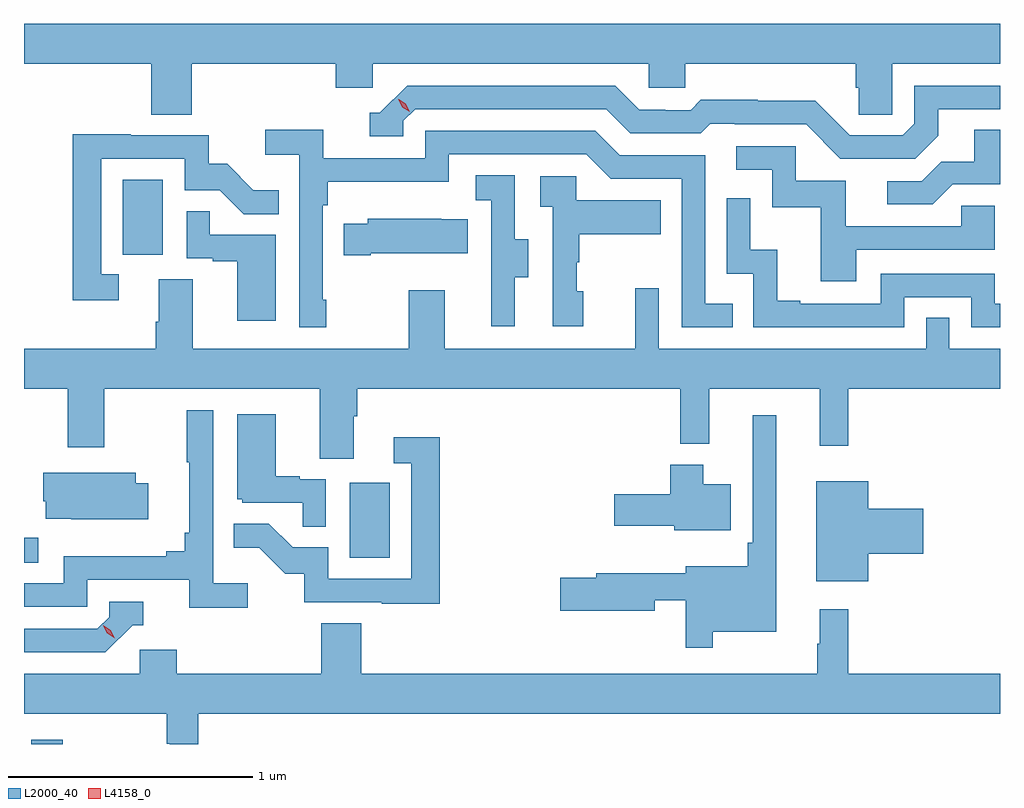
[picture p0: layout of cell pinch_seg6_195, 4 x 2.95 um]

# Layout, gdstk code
import gdstk
lib = gdstk.Library(unit=1e-6, precision=1e-09)
def R(c, l, rs):  # rectangles x0, y0, x1, y1
    for r in rs: c.add(gdstk.rectangle(r[:2], r[2:], *l))
def P(c, l, *ps):  # polygons
    for p in ps: c.add(gdstk.Polygon(p, *l))
L2000_40 = (2000, 40)
L4158_0 = (4158, 0)

pinch_seg6_195 = lib.new_cell('pinch_seg6_195')
R(pinch_seg6_195, L2000_40, [(1017.868,929.896,1017.997,929.914), (1017.839,930.64,1017.898,930.741), (1019.174,930.66,1019.338,930.967), (1018.244,931.902,1018.408,932.209)])
P(pinch_seg6_195, L2000_40, [(1018.526,932.684),(1019.117,932.684),(1019.117,932.586),(1019.268,932.586),(1019.268,932.684),(1020.399,932.684),(1020.399,932.586),(1020.549,932.586),(1020.549,932.684),(1021.247,932.684),(1021.247,932.586),(1021.261,932.586),(1021.261,932.476),(1021.398,932.476),(1021.398,932.684),(1021.839,932.684),(1021.839,932.848),(1017.839,932.848),(1017.839,932.684),(1018.361,932.684),(1018.361,932.476),(1018.526,932.476)],
  [(1021.585,932.389),(1021.585,932.499),(1021.839,932.499),(1021.839,932.595),(1021.488,932.595),(1021.488,932.439),(1021.44,932.391),(1021.224,932.391),(1021.082,932.533),(1020.846,932.533),(1020.846,932.536),(1020.613,932.536),(1020.571,932.493),(1020.468,932.493),(1020.468,932.496),(1020.361,932.496),(1020.262,932.595),(1019.409,932.595),(1019.298,932.484),(1019.255,932.484),(1019.255,932.388),(1019.394,932.388),(1019.394,932.451),(1019.442,932.499),(1020.225,932.499),(1020.324,932.4),(1020.613,932.4),(1020.652,932.439),(1020.751,932.439),(1020.751,932.436),(1021.044,932.436),(1021.185,932.295),(1021.491,932.295)],
  [(1021.645,932.19),(1021.839,932.19),(1021.839,932.414),(1021.733,932.414),(1021.733,932.282),(1021.598,932.282),(1021.518,932.202),(1021.377,932.202),(1021.377,932.109),(1021.564,932.109)],
  [(1019.077,931.717),(1019.064,931.717),(1019.064,932.105),(1019.084,932.105),(1019.084,932.201),(1019.58,932.201),(1019.58,932.313),(1020.144,932.313),(1020.243,932.214),(1020.534,932.214),(1020.534,931.605),(1020.743,931.605),(1020.743,931.701),(1020.63,931.701),(1020.63,932.31),(1020.28,932.31),(1020.181,932.409),(1019.484,932.409),(1019.484,932.298),(1019.066,932.298),(1019.066,932.414),(1018.827,932.414),(1018.827,932.312),(1018.968,932.312),(1018.968,931.605),(1019.077,931.605)],
  [(1018.228,931.821),(1018.155,931.821),(1018.155,932.295),(1018.497,932.295),(1018.497,932.166),(1018.641,932.166),(1018.739,932.068),(1018.883,932.068),(1018.883,932.167),(1018.779,932.167),(1018.672,932.274),(1018.596,932.274),(1018.596,932.391),(1018.277,932.391),(1018.277,932.396),(1018.039,932.396),(1018.039,931.716),(1018.228,931.716)],
  [(1021.249,931.923),(1021.818,931.923),(1021.818,932.103),(1021.681,932.103),(1021.681,932.019),(1021.207,932.019),(1021.207,932.205),(1021.002,932.205),(1021.002,932.346),(1020.759,932.346),(1020.759,932.25),(1020.906,932.25),(1020.906,932.097),(1021.105,932.097),(1021.105,931.794),(1021.249,931.794)],
  [(1019.851,931.81),(1019.905,931.81),(1019.905,931.965),(1019.85,931.965),(1019.85,932.228),(1019.691,932.228),(1019.691,932.125),(1019.754,932.125),(1019.754,931.821),(1019.753,931.821),(1019.753,931.608),(1019.851,931.608)],
  [(1020.13,931.752),(1020.105,931.752),(1020.105,931.871),(1020.115,931.871),(1020.115,931.985),(1020.449,931.985),(1020.449,932.125),(1020.102,932.125),(1020.102,932.223),(1019.955,932.223),(1019.955,932.099),(1020.006,932.099),(1020.006,931.608),(1020.13,931.608)],
  [(1021.446,931.728),(1021.722,931.728),(1021.722,931.605),(1021.839,931.605),(1021.839,931.701),(1021.818,931.701),(1021.818,931.824),(1021.35,931.824),(1021.35,931.701),(1021.021,931.701),(1021.021,931.714),(1020.926,931.714),(1020.926,931.922),(1020.816,931.922),(1020.816,932.134),(1020.72,932.134),(1020.72,931.824),(1020.828,931.824),(1020.828,931.605),(1021.446,931.605)],
  [(1018.87,931.983),(1018.601,931.983),(1018.601,932.081),(1018.506,932.081),(1018.506,931.887),(1018.613,931.887),(1018.613,931.875),(1018.712,931.875),(1018.712,931.632),(1018.87,931.632)],
  [(1019.26,931.907),(1019.657,931.907),(1019.657,932.047),(1019.549,932.047),(1019.549,932.05),(1019.247,932.05),(1019.247,932.029),(1019.149,932.029),(1019.149,931.9),(1019.26,931.9)],
  [(1019.191,931.24),(1019.204,931.24),(1019.204,931.352),(1020.529,931.352),(1020.529,931.127),(1020.647,931.127),(1020.647,931.352),(1021.1,931.352),(1021.1,931.119),(1021.217,931.119),(1021.217,931.352),(1021.839,931.352),(1021.839,931.516),(1021.632,931.516),(1021.632,931.643),(1021.536,931.643),(1021.536,931.516),(1020.441,931.516),(1020.441,931.765),(1020.344,931.765),(1020.344,931.516),(1019.563,931.516),(1019.563,931.756),(1019.416,931.756),(1019.416,931.516),(1018.531,931.516),(1018.531,931.802),(1018.391,931.802),(1018.391,931.628),(1018.379,931.628),(1018.379,931.516),(1017.839,931.516),(1017.839,931.352),(1018.019,931.352),(1018.019,931.113),(1018.167,931.113),(1018.167,931.352),(1019.051,931.352),(1019.051,931.066),(1019.191,931.066)],
  [(1018.756,930.556),(1018.614,930.556),(1018.614,931.264),(1018.506,931.264),(1018.506,931.051),(1018.517,931.051),(1018.517,930.763),(1018.498,930.763),(1018.498,930.686),(1018.421,930.686),(1018.421,930.667),(1018.002,930.667),(1018.002,930.555),(1017.839,930.555),(1017.839,930.459),(1018.098,930.459),(1018.098,930.57),(1018.517,930.57),(1018.517,930.454),(1018.756,930.454)],
  [(1019.076,930.981),(1018.97,930.981),(1018.97,930.994),(1018.87,930.994),(1018.87,931.249),(1018.712,931.249),(1018.712,930.9),(1018.734,930.9),(1018.734,930.885),(1018.981,930.885),(1018.981,930.787),(1019.076,930.787)],
  [(1020.661,930.356),(1020.922,930.356),(1020.922,931.243),(1020.825,931.243),(1020.825,930.721),(1020.805,930.721),(1020.805,930.625),(1020.551,930.625),(1020.551,930.596),(1020.185,930.596),(1020.185,930.578),(1020.036,930.578),(1020.036,930.443),(1020.424,930.443),(1020.424,930.486),(1020.552,930.486),(1020.552,930.291),(1020.661,930.291)],
  [(1019.543,931.153),(1019.355,931.153),(1019.355,931.047),(1019.427,931.047),(1019.427,930.573),(1019.085,930.573),(1019.085,930.702),(1018.941,930.702),(1018.843,930.8),(1018.699,930.8),(1018.699,930.701),(1018.803,930.701),(1018.91,930.594),(1018.987,930.594),(1018.987,930.477),(1019.305,930.477),(1019.305,930.472),(1019.543,930.472)],
  [(1020.736,930.961),(1020.622,930.961),(1020.622,931.042),(1020.488,931.042),(1020.488,930.921),(1020.258,930.921),(1020.258,930.791),(1020.504,930.791),(1020.504,930.773),(1020.736,930.773)],
  [(1018.348,930.966),(1018.297,930.966),(1018.297,931.009),(1017.917,931.009),(1017.917,930.891),(1017.929,930.891),(1017.929,930.819),(1018.033,930.819),(1018.033,930.818),(1018.348,930.818)],
  [(1021.3,930.677),(1021.525,930.677),(1021.525,930.86),(1021.3,930.86),(1021.3,930.973),(1021.085,930.973),(1021.085,930.563),(1021.3,930.563)],
  [(1018.284,930.384),(1018.327,930.384),(1018.327,930.48),(1018.188,930.48),(1018.188,930.417),(1018.14,930.369),(1017.839,930.369),(1017.839,930.273),(1018.173,930.273)],
  [(1018.314,930.184),(1017.839,930.184),(1017.839,930.02),(1018.425,930.02),(1018.425,929.897),(1018.436,929.897),(1018.436,929.896),(1018.553,929.896),(1018.553,930.02),(1021.839,930.02),(1021.839,930.184),(1021.217,930.184),(1021.217,930.448),(1021.1,930.448),(1021.1,930.308),(1021.089,930.308),(1021.089,930.184),(1019.222,930.184),(1019.222,930.392),(1019.057,930.392),(1019.057,930.184),(1018.466,930.184),(1018.466,930.282),(1018.314,930.282)])
P(pinch_seg6_195, L4158_0, [(1018.211,930.33),(1018.18,930.35),(1018.163,930.382),(1018.163,930.383),(1018.164,930.383),(1018.195,930.363),(1018.211,930.331),(1018.211,930.33)],
  [(1019.42,932.487),(1019.389,932.507),(1019.373,932.539),(1019.373,932.54),(1019.374,932.54),(1019.404,932.52),(1019.42,932.487),(1019.42,932.487)])

lib.write_gds('pinch_seg6_195.gds')
